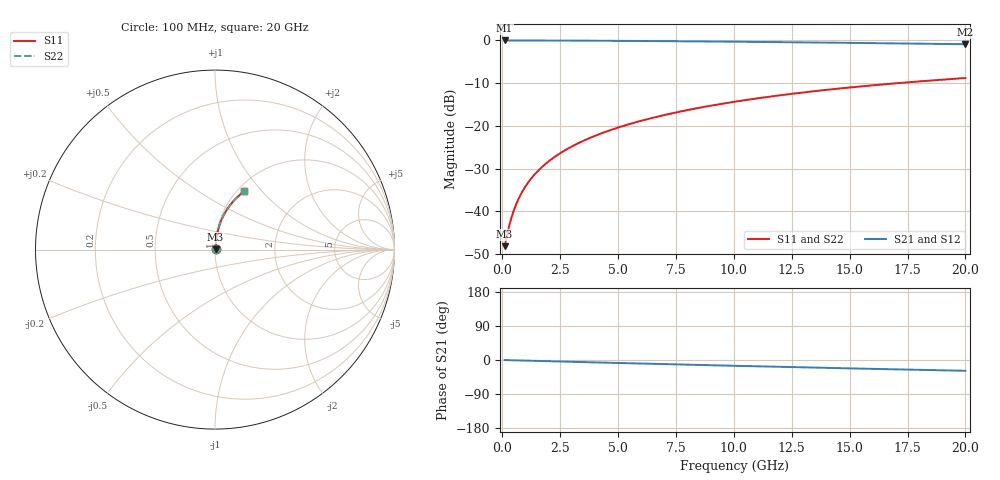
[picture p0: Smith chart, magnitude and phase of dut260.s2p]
! Touchstone file exported from HFSS 2024.1.0
!  File:  C:/UserFiles/LocalFiles/RDL_TSV_Batchsim/temp_RDL_top_260_1778689280.aedt
!  Generated:  12:23:44 AM May 14, 2026
!  Design:  RDL_top
!  Project:  temp_RDL_top_260_1778689280
!  Setup:  Setup1
!  Solution:  Sweep
! Variables:
!  dtsv = 10.80580581um
!  hbump = 3um
!  htsv = 52.33um
!  ldown = 100um
!  lrdl = 313.63um
!  p = 40
!  p1 = 52.68um
!  rhole = 1um
!  t = 450um
!  tdown = 3.915915916um
!  trdl = 2.73um
!  wdown = 15.38538539um
!  wrdl = 12.59um
# GHz S MA R 50.000000
! Terminal data exported
! Port[1] = Box2_T1
! Port[2] = Box2_T2
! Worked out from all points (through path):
!   200 points, 100 MHz to 20 GHz, reference 50 ohm
!   highest |S21| = -0.03 dB at 100 MHz (marker M1); lowest = -0.9 dB at 20 GHz (marker M2)
!   group delay of S21, straight-line fit = 3.95 ps
!   lowest |S11| = -48.1 dB at 100 MHz (marker M3), VSWR 1.01, Z = 50.3 + j0.199 ohm
!   |S11| at or under -10 dB: start of sweep to 17.09 GHz
!   |S22| runs from -48.1 to -8.8 dB; largest |S21 - S12| = 3.1e-15
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0.1  0.003934 30.1  0.9966 -0.2  0.9966 -0.2  0.003934 30.1
! Gamma 0 0 0 0
! Port Impedance 50 0 50 0
0.3  0.006814 59.0  0.9965 -0.5  0.9965 -0.5  0.006814 59.0
0.4  0.00854 65.3  0.9964 -0.7  0.9964 -0.7  0.00854 65.3
0.5  0.01033 69.5  0.9963 -0.8  0.9963 -0.8  0.01033 69.5
0.6  0.01216 72.3  0.9962 -1.0  0.9962 -1.0  0.01216 72.3
0.7  0.01402 74.4  0.9961 -1.1  0.9961 -1.1  0.01402 74.4
0.9  0.01775 77.2  0.9959 -1.5  0.9959 -1.5  0.01775 77.2
1.2  0.0234 79.5  0.9956 -1.9  0.9956 -1.9  0.0234 79.5
1.4  0.02717 80.5  0.9953 -2.2  0.9953 -2.2  0.02717 80.5
1.7  0.03282 81.4  0.9949 -2.7  0.9949 -2.7  0.03282 81.4
2.2  0.04227 82.2  0.9941 -3.5  0.9941 -3.5  0.04227 82.2
2.8  0.05364 82.6  0.9929 -4.5  0.9929 -4.5  0.05364 82.6
3.5  0.06696 82.6  0.9912 -5.6  0.9912 -5.6  0.06696 82.6
4.2  0.08033 82.3  0.9892 -6.6  0.9892 -6.6  0.08033 82.3
5  0.09567 81.8  0.9865 -7.9  0.9865 -7.9  0.09567 81.8
5.9  0.113 81.0  0.9832 -9.2  0.9832 -9.2  0.113 81.0
6.8  0.1302 80.1  0.9794 -10.6  0.9794 -10.6  0.1302 80.1
8.3  0.1589 78.4  0.9725 -12.8  0.9725 -12.8  0.1589 78.4
10.1  0.1929 76.2  0.9633 -15.4  0.9633 -15.4  0.1929 76.2
13.4  0.2532 71.9  0.9443 -20.0  0.9443 -20.0  0.2531 71.9
16.7  0.3099 67.6  0.9232 -24.3  0.9232 -24.3  0.3098 67.6
20  0.3624 63.4  0.9008 -28.5  0.9008 -28.5  0.3624 63.4
